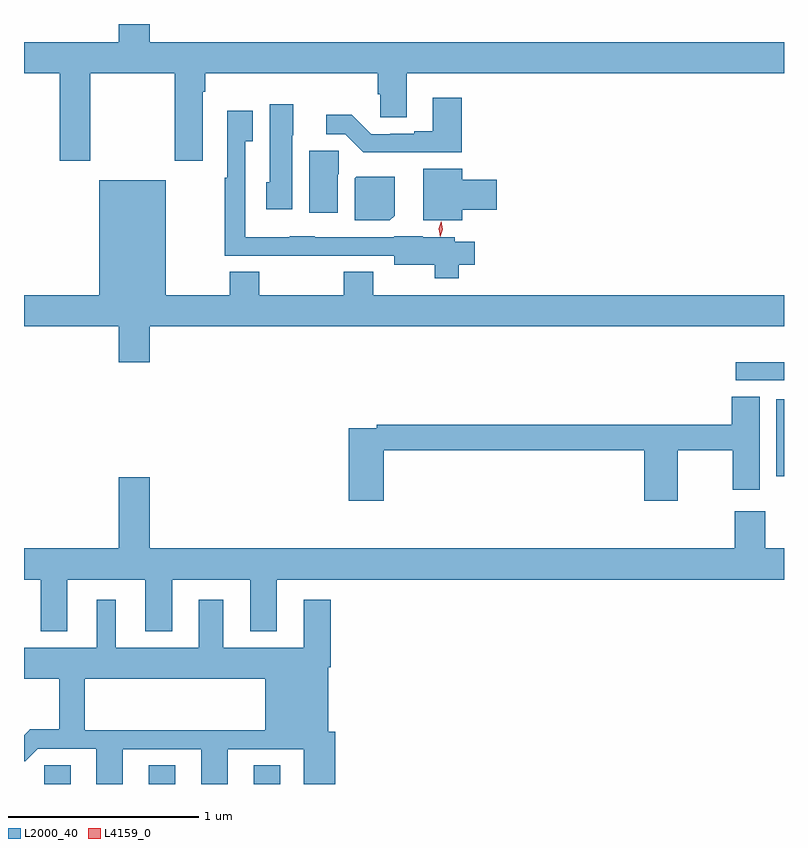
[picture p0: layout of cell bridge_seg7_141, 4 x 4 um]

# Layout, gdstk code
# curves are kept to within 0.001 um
import gdstk
lib = gdstk.Library(unit=1e-6, precision=1e-09)
def R(c, l, rs):  # rectangles x0, y0, x1, y1
    for r in rs: c.add(gdstk.rectangle(r[:2], r[2:], *l))
def P(c, l, *ps):  # polygons
    for p in ps: c.add(gdstk.Polygon(p, *l))
L2000_40 = (2000, 40)
L4159_0 = (4159, 0)

bridge_seg7_141 = lib.new_cell('bridge_seg7_141')
R(bridge_seg7_141, L2000_40, [(716.064,1016.856,716.203,1016.954), (716.615,1016.856,716.755,1016.954), (717.167,1016.856,717.307,1016.954), (719.918,1018.475,719.958,1018.882), (719.703,1018.98,719.958,1019.076)])
P(bridge_seg7_141, L2000_40, [(716.307,1020.596),(716.752,1020.596),(716.752,1020.135),(716.899,1020.135),(716.899,1020.5),(716.912,1020.5),(716.912,1020.596),(717.821,1020.596),(717.821,1020.486),(717.834,1020.486),(717.834,1020.364),(717.973,1020.364),(717.973,1020.596),(719.958,1020.596),(719.958,1020.76),(716.62,1020.76),(716.62,1020.856),(716.456,1020.856),(716.456,1020.76),(715.958,1020.76),(715.958,1020.596),(716.147,1020.596),(716.147,1020.135),(716.307,1020.135)],
  [(718.262,1020.469),(718.109,1020.469),(718.109,1020.292),(718.013,1020.292),(718.013,1020.279),(717.886,1020.279),(717.886,1020.276),(717.786,1020.276),(717.684,1020.379),(717.549,1020.379),(717.549,1020.276),(717.648,1020.276),(717.743,1020.182),(718.262,1020.182)],
  [(717.37,1020.27),(717.376,1020.27),(717.376,1020.433),(717.251,1020.433),(717.251,1020.024),(717.233,1020.024),(717.233,1019.88),(717.37,1019.88)],
  [(718.247,1019.588),(718.33,1019.588),(718.33,1019.71),(718.224,1019.71),(718.224,1019.734),(718.056,1019.734),(718.056,1019.74),(717.906,1019.74),(717.906,1019.733),(717.489,1019.733),(717.489,1019.74),(717.357,1019.74),(717.357,1019.734),(717.123,1019.734),(717.123,1020.239),(717.163,1020.239),(717.163,1020.4),(717.027,1020.4),(717.027,1020.047),(717.015,1020.047),(717.015,1019.637),(717.257,1019.637),(717.257,1019.636),(717.489,1019.636),(717.489,1019.637),(717.906,1019.637),(717.906,1019.588),(718.119,1019.588),(718.119,1019.519),(718.247,1019.519)],
  [(717.61,1020.066),(717.614,1020.066),(717.614,1020.189),(717.458,1020.189),(717.458,1019.862),(717.61,1019.862)],
  [(718.264,1019.879),(718.447,1019.879),(718.447,1020.037),(718.264,1020.037),(718.264,1020.094),(718.058,1020.094),(718.058,1019.822),(718.264,1019.822)],
  [(717.91,1019.848),(717.91,1020.052),(717.706,1020.052),(717.698,1020.044),(717.698,1019.822),(717.884,1019.822)],
  [(716.62,1019.264),(719.958,1019.264),(719.958,1019.428),(717.795,1019.428),(717.795,1019.552),(717.64,1019.552),(717.64,1019.428),(717.195,1019.428),(717.195,1019.552),(717.04,1019.552),(717.04,1019.428),(716.704,1019.428),(716.704,1020.034),(716.354,1020.034),(716.354,1019.428),(715.958,1019.428),(715.958,1019.264),(716.456,1019.264),(716.456,1019.076),(716.62,1019.076)],
  [(717.851,1018.612),(719.222,1018.612),(719.222,1018.347),(719.4,1018.347),(719.4,1018.612),(719.689,1018.612),(719.689,1018.404),(719.83,1018.404),(719.83,1018.895),(719.684,1018.895),(719.684,1018.748),(717.814,1018.748),(717.814,1018.728),(717.668,1018.728),(717.668,1018.347),(717.851,1018.347)],
  [(716.185,1017.932),(716.597,1017.932),(716.597,1017.659),(716.737,1017.659),(716.737,1017.932),(717.149,1017.932),(717.149,1017.659),(717.289,1017.659),(717.289,1017.932),(719.958,1017.932),(719.958,1018.096),(719.859,1018.096),(719.859,1018.291),(719.699,1018.291),(719.699,1018.096),(716.62,1018.096),(716.62,1018.471),(716.456,1018.471),(716.456,1018.096),(715.958,1018.096),(715.958,1017.932),(716.045,1017.932),(716.045,1017.659),(716.185,1017.659)],
  [(715.958,1016.975),(715.964,1016.975),(716.031,1017.042),(716.339,1017.042),(716.339,1016.856),(716.479,1016.856),(716.479,1017.039),(716.891,1017.039),(716.891,1016.856),(717.031,1016.856),(717.031,1017.039),(717.431,1017.039),(717.431,1016.856),(717.596,1016.856),(717.596,1017.132),(717.559,1017.132),(717.559,1017.47),(717.572,1017.47),(717.572,1017.826),(717.431,1017.826),(717.431,1017.574),(717.007,1017.574),(717.007,1017.826),(716.879,1017.826),(716.879,1017.574),(716.44,1017.574),(716.44,1017.826),(716.342,1017.826),(716.342,1017.574),(715.958,1017.574),(715.958,1017.41),(716.144,1017.41),(716.144,1017.143),(715.988,1017.143),(715.985,1017.14),(716.279,1017.14),(716.279,1017.41),(717.227,1017.41),(717.227,1017.14),(715.985,1017.14),(715.958,1017.113)])
P(bridge_seg7_141, L4159_0, [(718.149,1019.737),(718.149,1019.737),(718.142,1019.778),(718.154,1019.818),(718.155,1019.819),(718.155,1019.818),(718.162,1019.777),(718.149,1019.737)])

lib.write_gds('bridge_seg7_141.gds')
